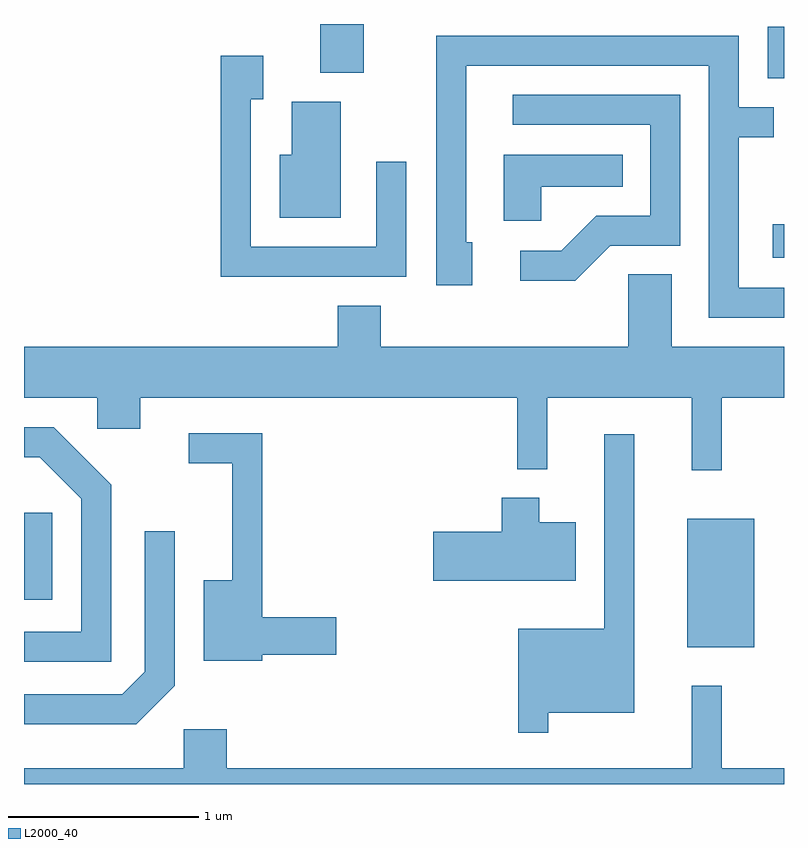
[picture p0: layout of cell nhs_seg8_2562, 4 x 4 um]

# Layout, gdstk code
import gdstk
lib = gdstk.Library(unit=1e-6, precision=1e-09)
def R(c, l, rs):  # rectangles x0, y0, x1, y1
    for r in rs: c.add(gdstk.rectangle(r[:2], r[2:], *l))
def P(c, l, *ps):  # polygons
    for p in ps: c.add(gdstk.Polygon(p, *l))
L2000_40 = (2000, 40)

nhs_seg8_2562 = lib.new_cell('nhs_seg8_2562')
R(nhs_seg8_2562, L2000_40, [(265.101,1875.061,265.454,1875.739), (261.611,1875.311,261.759,1875.769), (265.551,1877.111,265.611,1877.289), (265.526,1878.056,265.611,1878.328), (263.171,1878.086,263.399,1878.342)])
P(nhs_seg8_2562, L2000_40, [(265.611,1876.954),(265.374,1876.954),(265.374,1877.746),(265.558,1877.746),(265.558,1877.904),(265.374,1877.904),(265.374,1878.279),(263.781,1878.279),(263.781,1876.966),(263.969,1876.966),(263.969,1877.194),(263.939,1877.194),(263.939,1878.121),(265.216,1878.121),(265.216,1876.796),(265.611,1876.796)],
  [(263.624,1877.618),(263.466,1877.618),(263.466,1877.169),(262.804,1877.169),(262.804,1877.946),(262.869,1877.946),(262.869,1878.174),(262.646,1878.174),(262.646,1877.011),(263.624,1877.011)],
  [(264.697,1877.176),(265.064,1877.176),(265.064,1877.969),(264.183,1877.969),(264.183,1877.811),(264.906,1877.811),(264.906,1877.334),(264.624,1877.334),(264.439,1877.149),(264.223,1877.149),(264.223,1876.991),(264.512,1876.991)],
  [(263.279,1877.934),(263.021,1877.934),(263.021,1877.654),(262.956,1877.654),(262.956,1877.321),(263.279,1877.321)],
  [(264.334,1877.486),(264.763,1877.486),(264.763,1877.654),(264.136,1877.654),(264.136,1877.306),(264.334,1877.306)],
  [(265.284,1876.376),(265.611,1876.376),(265.611,1876.644),(265.019,1876.644),(265.019,1877.024),(264.791,1877.024),(264.791,1876.644),(263.489,1876.644),(263.489,1876.859),(263.261,1876.859),(263.261,1876.644),(261.611,1876.644),(261.611,1876.376),(261.996,1876.376),(261.996,1876.211),(262.224,1876.211),(262.224,1876.376),(264.206,1876.376),(264.206,1875.998),(264.364,1875.998),(264.364,1876.376),(265.126,1876.376),(265.126,1875.993),(265.284,1875.993)],
  [(262.069,1875.917),(261.767,1876.219),(261.611,1876.219),(261.611,1876.061),(261.694,1876.061),(261.911,1875.844),(261.911,1875.144),(261.611,1875.144),(261.611,1874.986),(262.069,1874.986)],
  [(262.864,1875.021),(263.254,1875.021),(263.254,1875.219),(262.864,1875.219),(262.864,1876.189),(262.478,1876.189),(262.478,1876.031),(262.706,1876.031),(262.706,1875.414),(262.556,1875.414),(262.556,1874.991),(262.864,1874.991)],
  [(264.369,1874.716),(264.824,1874.716),(264.824,1876.183),(264.666,1876.183),(264.666,1875.159),(264.211,1875.159),(264.211,1874.613),(264.369,1874.613)],
  [(264.514,1875.719),(264.324,1875.719),(264.324,1875.849),(264.126,1875.849),(264.126,1875.669),(263.766,1875.669),(263.766,1875.411),(264.514,1875.411)],
  [(262.404,1874.859),(262.404,1875.673),(262.246,1875.673),(262.246,1874.932),(262.129,1874.814),(261.611,1874.814),(261.611,1874.656),(262.202,1874.656)],
  [(265.611,1874.424),(265.284,1874.424),(265.284,1874.858),(265.126,1874.858),(265.126,1874.424),(262.679,1874.424),(262.679,1874.629),(262.451,1874.629),(262.451,1874.424),(261.611,1874.424),(261.611,1874.342),(265.611,1874.342)])

lib.write_gds('nhs_seg8_2562.gds')
